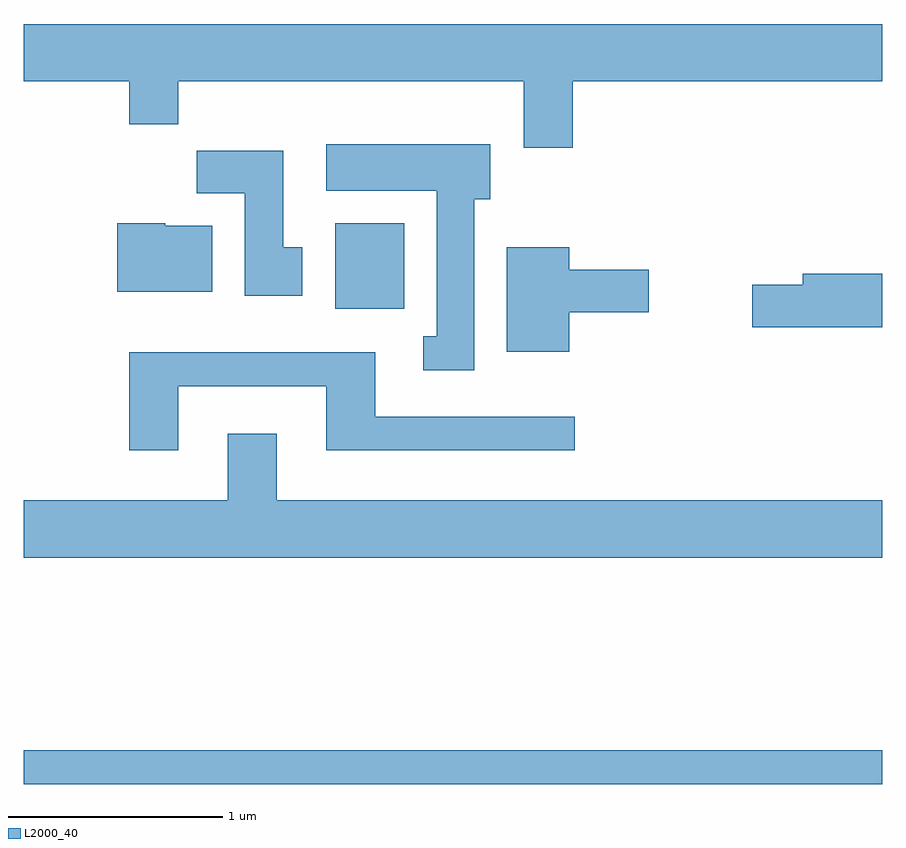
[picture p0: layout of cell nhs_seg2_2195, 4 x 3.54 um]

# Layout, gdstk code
import gdstk
lib = gdstk.Library(unit=1e-6, precision=1e-09)
def R(c, l, rs):  # rectangles x0, y0, x1, y1
    for r in rs: c.add(gdstk.rectangle(r[:2], r[2:], *l))
def P(c, l, *ps):  # polygons
    for p in ps: c.add(gdstk.Polygon(p, *l))
L2000_40 = (2000, 40)

nhs_seg2_2195 = lib.new_cell('nhs_seg2_2195')
R(nhs_seg2_2195, L2000_40, [(249.611,1016.181,253.611,1016.339), (251.061,1018.396,251.384,1018.794)])
P(nhs_seg2_2195, L2000_40, [(252.169,1019.456),(253.611,1019.456),(253.611,1019.724),(249.611,1019.724),(249.611,1019.456),(250.101,1019.456),(250.101,1019.256),(250.329,1019.256),(250.329,1019.456),(251.941,1019.456),(251.941,1019.146),(252.169,1019.146)],
  [(251.709,1018.906),(251.784,1018.906),(251.784,1019.164),(251.021,1019.164),(251.021,1018.946),(251.536,1018.946),(251.536,1018.269),(251.473,1018.269),(251.473,1018.111),(251.709,1018.111)],
  [(250.909,1018.684),(250.819,1018.684),(250.819,1019.134),(250.416,1019.134),(250.416,1018.936),(250.641,1018.936),(250.641,1018.456),(250.909,1018.456)],
  [(250.489,1018.784),(250.27,1018.784),(250.27,1018.794),(250.046,1018.794),(250.046,1018.476),(250.489,1018.476)],
  [(252.154,1018.381),(252.524,1018.381),(252.524,1018.579),(252.154,1018.579),(252.154,1018.684),(251.861,1018.684),(251.861,1018.196),(252.154,1018.196)],
  [(253.611,1018.559),(253.241,1018.559),(253.241,1018.509),(253.006,1018.509),(253.006,1018.311),(253.611,1018.311)],
  [(250.329,1018.036),(251.021,1018.036),(251.021,1017.736),(252.178,1017.736),(252.178,1017.894),(251.249,1017.894),(251.249,1018.194),(250.101,1018.194),(250.101,1017.736),(250.329,1017.736)],
  [(253.611,1017.504),(250.789,1017.504),(250.789,1017.814),(250.561,1017.814),(250.561,1017.504),(249.611,1017.504),(249.611,1017.236),(253.611,1017.236)])

lib.write_gds('nhs_seg2_2195.gds')
